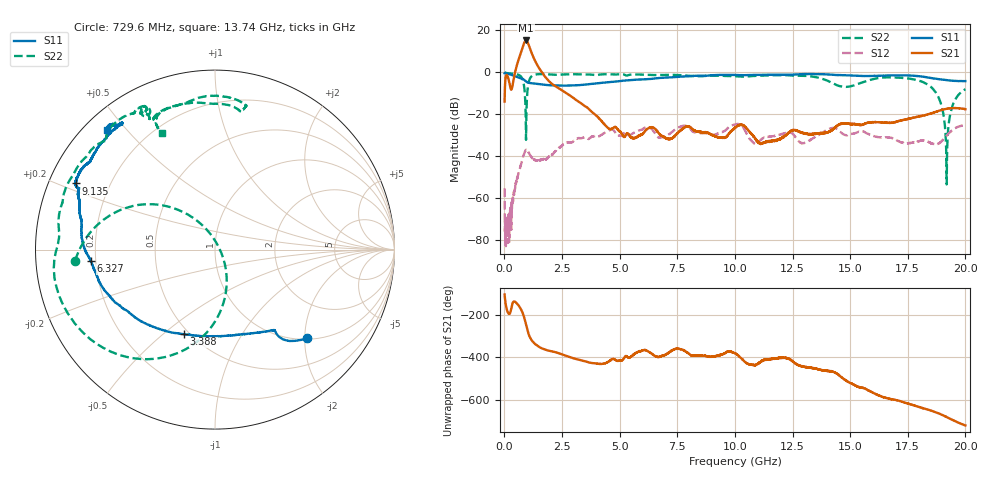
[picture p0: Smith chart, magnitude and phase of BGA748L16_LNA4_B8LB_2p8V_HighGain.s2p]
! S-Parameter file
! MATLAB S2P writer
! (c) DICE Linz
! Infineon Technologies
! Date: 08.04.2010 12:51
!BGA748L16_final_LB2
!2.80V; 2.80V;
!25.00 deg
# MHZ S MA R 50
!  S11  S21  S12  S22
!  f  mag  angle  mag  angle  mag  angle  mag  angle
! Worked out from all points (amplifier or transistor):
!   4001 points, 10 MHz to 20 GHz, reference 50 ohm
!   highest |S21| = 15.1 dB at 939.5 MHz (marker M1)
!   |S21| within 3 dB of that: 798.2 MHz to 1.083 GHz (285 MHz wide, 30.3 % of centre)
!   unconditionally stable (mu >= 1): start of sweep to end of sweep
!   at 3.338 GHz: K = 15.07, MAG = -6.5 dB, |S12| = -31.4 dB
!   at 10.01 GHz: K = 16.01, MAG = -15.8 dB, |S12| = -24.8 dB
!   at 20 GHz: K = 36.90, MAG = -14.7 dB, |S12| = -25.5 dB
!   lowest NFmin = 0.82 dB at 940 MHz
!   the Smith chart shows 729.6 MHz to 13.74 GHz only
!   S11 on the Smith chart (normalised r, x): 729.6 MHz: 1.03, -2.05; 3.388 GHz: 0.47, -0.59; 6.327 GHz: 0.18, -0.05; 9.135 GHz: 0.08, +0.22; 13.74 GHz: 0.06, +0.44
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10  0.9477 -0.7  0.2018 -102.7  0.001733 -144.5  0.9976 -4.1
129.94  0.9268 -10.1  0.8274 178.3  0.0001661 101.4  0.9517 -46.4
434.7875  0.8188 -29.6  0.8487 -135.5  0.001548 165.6  0.9158 -121.8
729.64  0.7117 -43.9  3.104 -174.4  0.006598 147.6  0.7812 -175.5
844.5825  0.6662 -49.8  4.784 154.2  0.01113 129.9  0.5137 151.6
939.535  0.6062 -53.6  5.719 114.8  0.01431 103.1  0.02462 27.1
1064.473  0.5591 -53.7  4.324 66.6  0.01213 73.5  0.6088 -109.4
1169.42  0.5494 -54.9  3.003 43.6  0.009559 67.6  0.7918 -132.1
1339.335  0.535 -58.6  1.835 22.7  0.008128 72.7  0.8806 -151.6
1614.197  0.512 -65.3  1.018 3.5  0.008401 82.6  0.9084 -168.4
3343.332  0.5005 -109.1  0.1801 -54.0  0.02691 76.1  0.8935 150.0
3388.31  0.5024 -110.2  0.1728 -55.2  0.02762 75.3  0.8938 148.8
6326.84  0.6942 -174.6  0.04805 -17.8  0.04684 27.7  0.8613 116.7
6676.665  0.7279 179.5  0.03678 -37.7  0.02822 25.0  0.8646 118.2
9135.435  0.8598 154.6  0.0297 -33.9  0.03326 26.9  0.8317 105.4
10005  0.8665 147.9  0.04829 -20.2  0.05771 13.2  0.8062 83.6
13338.33  0.9067 130.9  0.03347 -90.2  0.02591 23.4  0.7935 114.5
13738.13  0.8998 132.0  0.03626 -99.5  0.03509 22.7  0.7146 114.5
16671.67  0.8405 104.5  0.0626 125.3  0.02797 -30.9  0.7563 53.2
18575.71  0.7199 96.6  0.1079 66.5  0.02 -18.4  0.4115 72.0
19190.4  0.6503 87.5  0.1357 38.1  0.03132 10.9  0.002205 -84.5
20000  0.6173 64.8  0.1323 -1.5  0.05312 -18.0  0.3972 -124.4
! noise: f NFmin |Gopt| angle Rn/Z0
940  0.82  0.407  62  9
